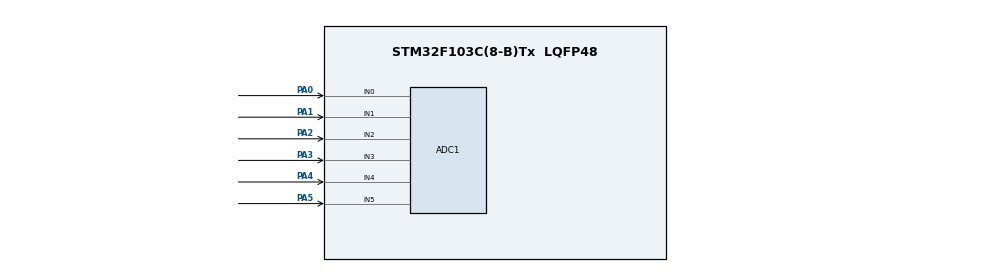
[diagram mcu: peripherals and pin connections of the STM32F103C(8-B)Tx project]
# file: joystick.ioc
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ADC1.Channel-0\#ChannelRegularConversion=ADC_CHANNEL_0
ADC1.Channel-1\#ChannelRegularConversion=ADC_CHANNEL_1
ADC1.Channel-2\#ChannelRegularConversion=ADC_CHANNEL_2
ADC1.NbrOfConversion=3
ADC1.NbrOfConversionFlag=1
ADC1.Rank-0\#ChannelRegularConversion=1
ADC1.Rank-1\#ChannelRegularConversion=2
ADC1.Rank-2\#ChannelRegularConversion=3
ADC1.SamplingTime-0\#ChannelRegularConversion=ADC_SAMPLETIME_239CYCLES_5
ADC1.SamplingTime-1\#ChannelRegularConversion=ADC_SAMPLETIME_239CYCLES_5
ADC1.SamplingTime-2\#ChannelRegularConversion=ADC_SAMPLETIME_239CYCLES_5
ADC1.master=1
Dma.ADC1.0.Direction=DMA_PERIPH_TO_MEMORY
Dma.ADC1.0.Instance=DMA1_Channel1
Dma.ADC1.0.MemDataAlignment=DMA_MDATAALIGN_HALFWORD
Dma.ADC1.0.MemInc=DMA_MINC_ENABLE
Dma.ADC1.0.Mode=DMA_CIRCULAR
Dma.ADC1.0.PeriphDataAlignment=DMA_PDATAALIGN_HALFWORD
Dma.ADC1.0.PeriphInc=DMA_PINC_DISABLE
Dma.ADC1.0.Priority=DMA_PRIORITY_LOW
Dma.Request0=ADC1
Mcu.Family=STM32F1
Mcu.Name=STM32F103C(8-B)Tx
Mcu.Package=LQFP48
NVIC.ADC1_2_IRQn=true\:0\:0\:false\:false\:true\:true\:true\:true
NVIC.DMA1_Channel1_IRQn=true\:0\:0\:false\:false\:true\:false\:true\:true
NVIC.PriorityGroup=NVIC_PRIORITYGROUP_4
PA0-WKUP.Signal=ADCx_IN0
PA1.Signal=ADCx_IN1
PA13.Mode=Serial_Wire
PA13.Signal=SYS_JTMS-SWDIO
PA14.Mode=Serial_Wire
PA14.Signal=SYS_JTCK-SWCLK
PA2.Signal=ADCx_IN2
PA3.Signal=ADCx_IN3
PA4.Signal=ADCx_IN4
PA5.Signal=ADCx_IN5
ProjectManager.HeapSize=0x200
ProjectManager.StackSize=0x400
ProjectManager.TargetToolchain=STM32CubeIDE
RCC.APB1Freq_Value=8000000
RCC.APB2Freq_Value=8000000
SH.ADCx_IN0.0=ADC1_IN0,IN0
SH.ADCx_IN1.0=ADC1_IN1,IN1
SH.ADCx_IN2.0=ADC1_IN2,IN2
SH.ADCx_IN3.0=ADC1_IN3,IN3
SH.ADCx_IN4.0=ADC1_IN4,IN4
SH.ADCx_IN5.0=ADC1_IN5,IN5
board=custom

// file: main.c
/* USER CODE BEGIN Header */
/**
  ******************************************************************************
  * @file           : main.c
  * @brief          : Main program body
  ******************************************************************************
  * @attention
  *
  * Copyright (c) 2024 STMicroelectronics.
  * All rights reserved.
  *
  * This software is licensed under terms that can be found in the LICENSE file
  * in the root directory of this software component.
  * If no LICENSE file comes with this software, it is provided AS-IS.
  *
  ******************************************************************************
  */
/* USER CODE END Header */
#include "main.h"

ADC_HandleTypeDef hadc1;
DMA_HandleTypeDef hdma_adc1;

/* USER CODE BEGIN PV */
uint32_t readValue[3];
uint16_t xA;
uint16_t yA;
uint16_t yB;
uint16_t val;
uint16_t yC;
uint16_t yD;

/* USER CODE END PV */

void SystemClock_Config(void);
static void MX_GPIO_Init(void);
static void MX_DMA_Init(void);
static void MX_ADC1_Init(void);

/* USER CODE BEGIN 0 */
uint8_t convCompleted = 0;
void HAL_ADC_ConvCpltCallback(ADC_HandleTypeDef* hadc)
{
	convCompleted = 1;
}
/* USER CODE END 0 */

int main(void)
{

  /* MCU Configuration--------------------------------------------------------*/

  /* Reset of all peripherals, Initializes the Flash interface and the Systick. */
  HAL_Init();

  /* Configure the system clock */
  SystemClock_Config();

  /* Initialize all configured peripherals */
  MX_GPIO_Init();
  MX_DMA_Init();
  MX_ADC1_Init();
  /* USER CODE BEGIN 2 */
//  HAL_ADC_Start_DMA(&hadc1, (uint32_t*) readValue, 3);
  /* USER CODE END 2 */

  /* Infinite loop */
  while (1)
  {

    /* USER CODE BEGIN 3 */
	  HAL_ADC_Start_DMA(&hadc1, (uint32_t*) readValue, 3);

//	  for(uint8_t i = 0; i < hadc1.Init.NbrOfConversion; i++)
//	  	  {
	  	    		  xA = (uint16_t) readValue[0];
	  	    		  yA = (uint16_t) readValue[1];
	  	    		  yB = (uint16_t) readValue[2];
	  	    		  yC = (uint16_t) readValue[3];
	  	    		  yD = (uint16_t) readValue[4];

//	  	  }
  }
  /* USER CODE END 3 */
}

void SystemClock_Config(void)
{
  RCC_OscInitTypeDef RCC_OscInitStruct = {0};
  RCC_ClkInitTypeDef RCC_ClkInitStruct = {0};
  RCC_PeriphCLKInitTypeDef PeriphClkInit = {0};

  /** Initializes the RCC Oscillators according to the specified parameters
  * in the RCC_OscInitTypeDef structure.
  */
  RCC_OscInitStruct.OscillatorType = RCC_OSCILLATORTYPE_HSI;
  RCC_OscInitStruct.HSIState = RCC_HSI_ON;
  RCC_OscInitStruct.HSICalibrationValue = RCC_HSICALIBRATION_DEFAULT;
  RCC_OscInitStruct.PLL.PLLState = RCC_PLL_NONE;
  if (HAL_RCC_OscConfig(&RCC_OscInitStruct) != HAL_OK)
  {
    Error_Handler();
  }

  /** Initializes the CPU, AHB and APB buses clocks
  */
  RCC_ClkInitStruct.ClockType = RCC_CLOCKTYPE_HCLK|RCC_CLOCKTYPE_SYSCLK
                              |RCC_CLOCKTYPE_PCLK1|RCC_CLOCKTYPE_PCLK2;
  RCC_ClkInitStruct.SYSCLKSource = RCC_SYSCLKSOURCE_HSI;
  RCC_ClkInitStruct.AHBCLKDivider = RCC_SYSCLK_DIV1;
  RCC_ClkInitStruct.APB1CLKDivider = RCC_HCLK_DIV1;
  RCC_ClkInitStruct.APB2CLKDivider = RCC_HCLK_DIV1;

  if (HAL_RCC_ClockConfig(&RCC_ClkInitStruct, FLASH_LATENCY_0) != HAL_OK)
  {
    Error_Handler();
  }
  PeriphClkInit.PeriphClockSelection = RCC_PERIPHCLK_ADC;
  PeriphClkInit.AdcClockSelection = RCC_ADCPCLK2_DIV2;
  if (HAL_RCCEx_PeriphCLKConfig(&PeriphClkInit) != HAL_OK)
  {
    Error_Handler();
  }
}

static void MX_ADC1_Init(void)
{

  ADC_ChannelConfTypeDef sConfig = {0};

  /** Common config
  */
  hadc1.Instance = ADC1;
  hadc1.Init.ScanConvMode = ADC_SCAN_ENABLE;
  hadc1.Init.ContinuousConvMode = DISABLE;
  hadc1.Init.DiscontinuousConvMode = DISABLE;
  hadc1.Init.ExternalTrigConv = ADC_SOFTWARE_START;
  hadc1.Init.DataAlign = ADC_DATAALIGN_RIGHT;
  hadc1.Init.NbrOfConversion = 3;
  if (HAL_ADC_Init(&hadc1) != HAL_OK)
  {
    Error_Handler();
  }

  /** Configure Regular Channel
  */
  sConfig.Channel = ADC_CHANNEL_0;
  sConfig.Rank = ADC_REGULAR_RANK_1;
  sConfig.SamplingTime = ADC_SAMPLETIME_239CYCLES_5;
  if (HAL_ADC_ConfigChannel(&hadc1, &sConfig) != HAL_OK)
  {
    Error_Handler();
  }

  /** Configure Regular Channel
  */
  sConfig.Channel = ADC_CHANNEL_1;
  sConfig.Rank = ADC_REGULAR_RANK_2;
  if (HAL_ADC_ConfigChannel(&hadc1, &sConfig) != HAL_OK)
  {
    Error_Handler();
  }

  /** Configure Regular Channel
  */
  sConfig.Channel = ADC_CHANNEL_2;
  sConfig.Rank = ADC_REGULAR_RANK_3;
  if (HAL_ADC_ConfigChannel(&hadc1, &sConfig) != HAL_OK)
  {
    Error_Handler();
  }

}

static void MX_DMA_Init(void)
{

  /* DMA controller clock enable */
  __HAL_RCC_DMA1_CLK_ENABLE();

  /* DMA interrupt init */
  /* DMA1_Channel1_IRQn interrupt configuration */
  HAL_NVIC_SetPriority(DMA1_Channel1_IRQn, 0, 0);
  HAL_NVIC_EnableIRQ(DMA1_Channel1_IRQn);

}

static void MX_GPIO_Init(void)
{

  /* GPIO Ports Clock Enable */
  __HAL_RCC_GPIOA_CLK_ENABLE();

}

void Error_Handler(void)
{
  __disable_irq();
  while (1)
  {
  }
}
